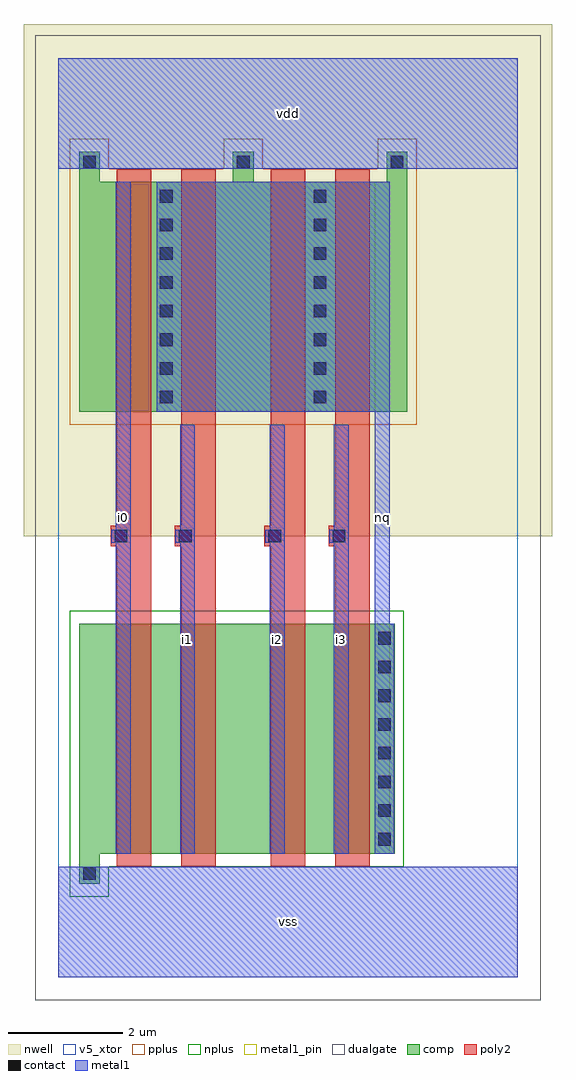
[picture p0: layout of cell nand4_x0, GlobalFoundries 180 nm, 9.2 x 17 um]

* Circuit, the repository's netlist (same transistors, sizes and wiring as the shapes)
* nand4_x0
.subckt nand4_x0 vdd vss nq i0 i1 i2 i3
Mn0 vss i0 int0 vss nfet_06v0 l=0.6um w=4.0um
Mp0 vdd i0 nq vdd pfet_06v0 l=0.6um w=4.0um
Mn1 int0 i1 int1 vss nfet_06v0 l=0.6um w=4.0um
Mp1 nq i1 vdd vdd pfet_06v0 l=0.6um w=4.0um
Mn2 int1 i2 int2 vss nfet_06v0 l=0.6um w=4.0um
Mp2 vdd i2 nq vdd pfet_06v0 l=0.6um w=4.0um
Mn3 int2 i3 nq vss nfet_06v0 l=0.6um w=4.0um
Mp3 nq i3 vdd vdd pfet_06v0 l=0.6um w=4.0um
.ends nand4_x0

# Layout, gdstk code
import gdstk
lib = gdstk.Library(unit=1e-6, precision=1e-09)
def R(c, l, rs):  # rectangles x0, y0, x1, y1
    for r in rs: c.add(gdstk.rectangle(r[:2], r[2:], *l))
def A(c, l, x, y, w, h, nx, ny, dx, dy):  # array of equal rectangles
    R(c, l, [(x+i*dx, y+j*dy, x+i*dx+w, y+j*dy+h) for i in range(nx) for j in range(ny)])
def P(c, l, *ps):  # polygons
    for p in ps: c.add(gdstk.Polygon(p, *l))
nwell = (21, 0)
comp = (22, 0)
poly2 = (30, 0)
pplus = (31, 0)
nplus = (32, 0)
contact = (33, 0)
metal1 = (34, 0)
metal1_pin = (34, 10)
dualgate = (55, 0)
v5_xtor = (112, 1)

nand4_x0 = lib.new_cell('nand4_x0')
R(nand4_x0, nwell, [(-0.6,7.68,8.6,16.6)])
P(nand4_x0, comp, [(0.36,1.625),(0.36,6.15),(5.86,6.15),(5.86,2.15),(0.72,2.15),(0.72,1.625)],
  [(0.36,9.85),(0.36,14.375),(0.72,14.375),(0.72,13.85),(3.04,13.85),(3.04,14.375),(3.4,14.375),(3.4,13.85),(5.72,13.85),(5.72,14.375),(6.08,14.375),(6.08,9.85)])
P(nand4_x0, poly2, [(1.02,1.93),(1.02,7.5),(0.91,7.5),(0.91,7.86),(1.02,7.86),(1.02,14.07),(1.62,14.07),(1.62,1.93)],
  [(2.14,1.93),(2.14,7.5),(2.03,7.5),(2.03,7.86),(2.14,7.86),(2.14,14.07),(2.74,14.07),(2.74,1.93)],
  [(3.7,1.93),(3.7,7.5),(3.59,7.5),(3.59,7.86),(3.7,7.86),(3.7,14.07),(4.3,14.07),(4.3,1.93)],
  [(4.82,1.93),(4.82,7.5),(4.71,7.5),(4.71,7.86),(4.82,7.86),(4.82,14.07),(5.42,14.07),(5.42,1.93)])
P(nand4_x0, pplus, [(0.2,9.62),(0.2,14.605),(0.88,14.605),(0.88,14.08),(2.88,14.08),(2.88,14.605),(3.56,14.605),(3.56,14.08),(5.56,14.08),(5.56,14.605),(6.24,14.605),(6.24,9.62)])
P(nand4_x0, nplus, [(0.2,1.395),(0.2,6.38),(6.02,6.38),(6.02,1.92),(0.88,1.92),(0.88,1.395)])
A(nand4_x0, contact, 5.57, 2.29, 0.22, 0.22, 1, 8, 0, 0.5)
A(nand4_x0, contact, 1.77, 9.99, 0.22, 0.22, 1, 8, 0, 0.5)
A(nand4_x0, contact, 4.45, 9.99, 0.22, 0.22, 1, 8, 0, 0.5)
A(nand4_x0, contact, 0.43, 14.085, 0.22, 0.22, 3, 1, 2.68, 0)
R(nand4_x0, contact, [(0.43,1.695,0.65,1.915), (0.98,7.57,1.2,7.79), (2.1,7.57,2.32,7.79), (3.66,7.57,3.88,7.79), (4.78,7.57,5,7.79)])
R(nand4_x0, metal1, [(0,0,8,1.92), (0,14.08,8,16)])
P(nand4_x0, metal1, [(1,2.15),(1,7.565),(0.92,7.565),(0.92,7.795),(1,7.795),(1,13.85),(1.26,13.85),(1.26,2.15)],
  [(5.51,2.15),(5.51,9.85),(1.71,9.85),(1.71,13.85),(5.77,13.85),(5.77,6.15),(5.85,6.15),(5.85,2.15)],
  [(2.12,2.15),(2.12,7.565),(2.04,7.565),(2.04,7.795),(2.12,7.795),(2.12,9.62),(2.38,9.62),(2.38,2.15)],
  [(3.68,2.15),(3.68,7.565),(3.6,7.565),(3.6,7.795),(3.68,7.795),(3.68,9.62),(3.94,9.62),(3.94,2.15)],
  [(4.8,2.15),(4.8,7.565),(4.72,7.565),(4.72,7.795),(4.8,7.795),(4.8,9.62),(5.06,9.62),(5.06,2.15)])
R(nand4_x0, metal1_pin, [(0,0,8,1.92), (1,2.15,1.26,13.85), (2.12,2.15,2.38,9.62), (3.68,2.15,3.94,9.62), (4.8,2.15,5.06,9.62), (5.51,2.15,5.77,13.85), (0,14.08,8,16)])
R(nand4_x0, dualgate, [(-0.4,-0.4,8.4,16.4)])
R(nand4_x0, v5_xtor, [(-0.005,-0.005,8.005,16.005)])
nand4_x0.add(gdstk.Label('vss', (4,0.96), layer=34, texttype=10))
nand4_x0.add(gdstk.Label('vdd', (4,15.04), layer=34, texttype=10))
nand4_x0.add(gdstk.Label('i0', (1.13,8), layer=34, texttype=10))
nand4_x0.add(gdstk.Label('nq', (5.64,8), layer=34, texttype=10))
nand4_x0.add(gdstk.Label('i1', (2.25,5.885), layer=34, texttype=10))
nand4_x0.add(gdstk.Label('i2', (3.81,5.885), layer=34, texttype=10))
nand4_x0.add(gdstk.Label('i3', (4.93,5.885), layer=34, texttype=10))

lib.write_gds('nand4_x0.gds')
